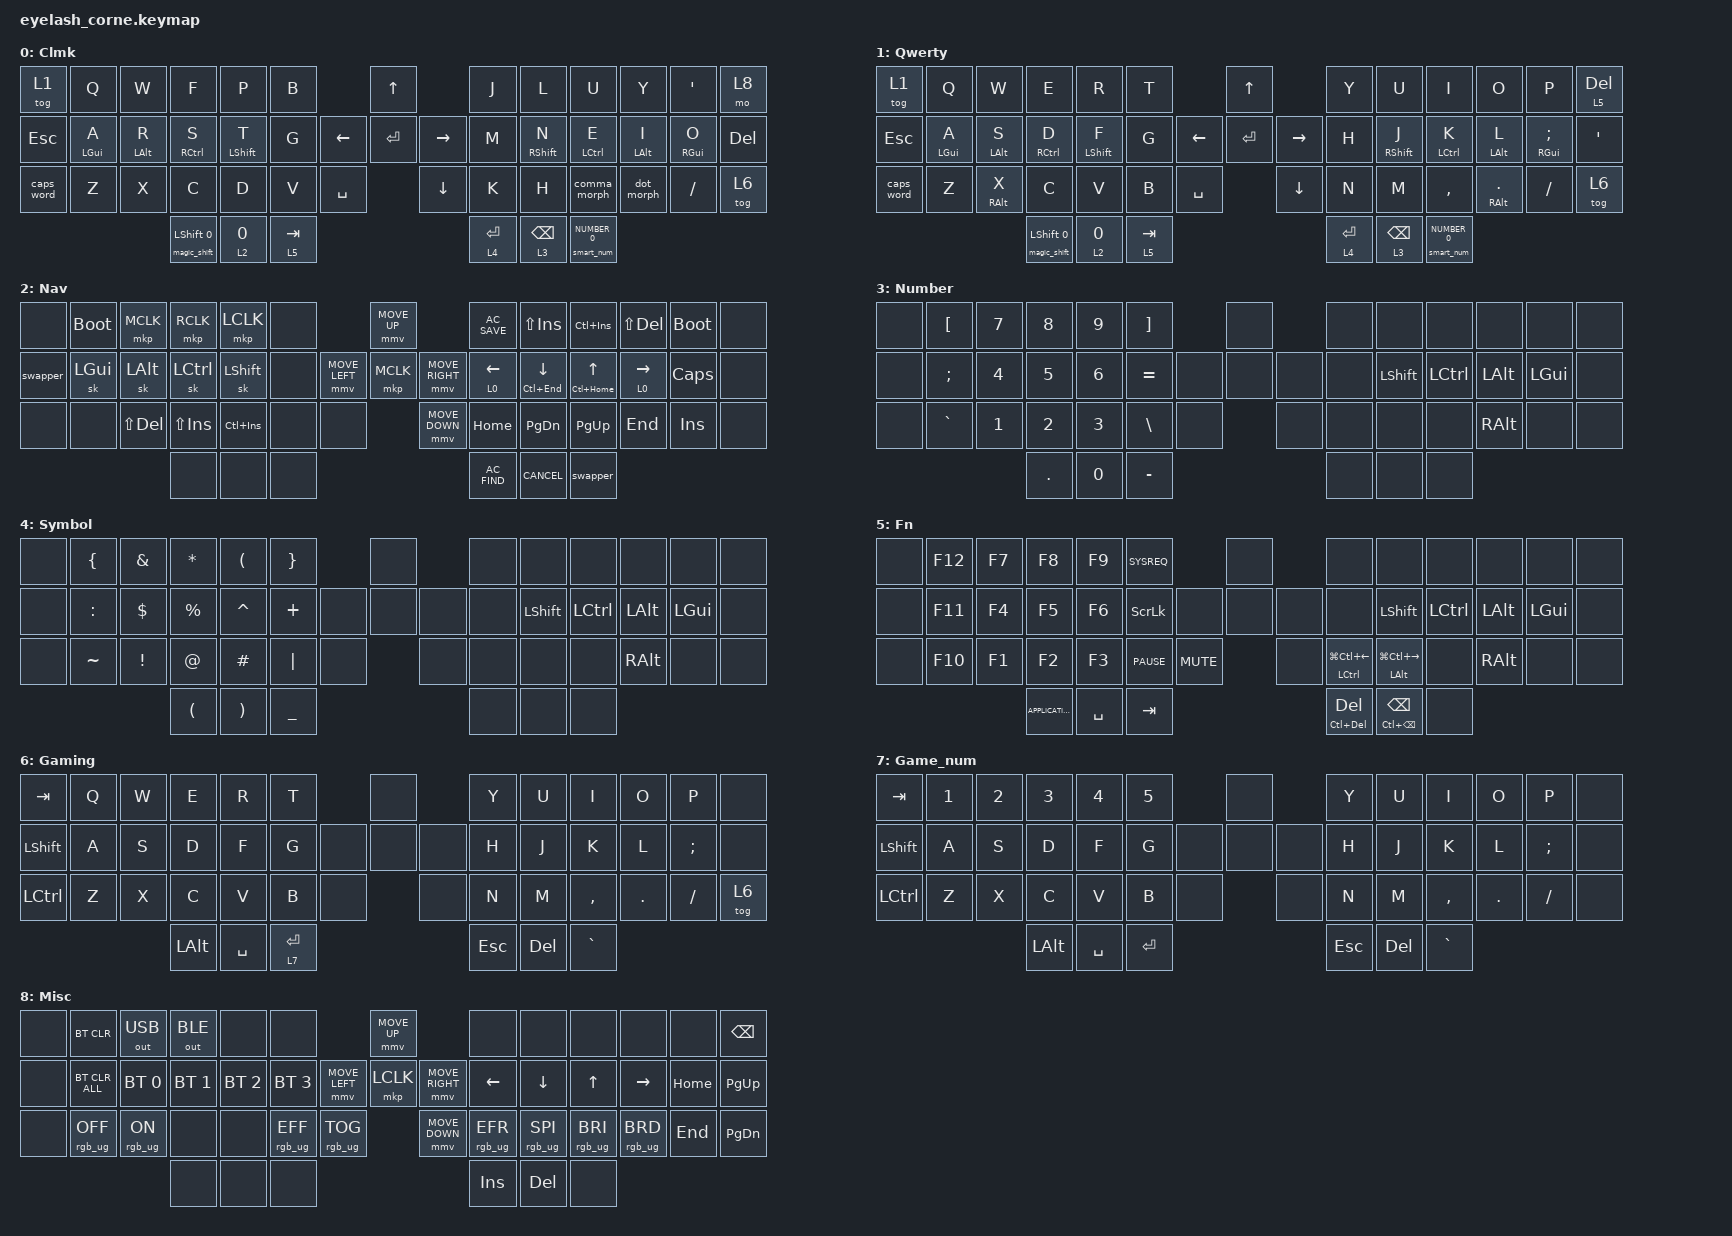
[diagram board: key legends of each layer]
#define ZMK_POINTING_DEFAULT_MOVE_VAL 1200  // 600
#define ZMK_POINTING_DEFAULT_SCRL_VAL 25   // 10

#include <input/processors.dtsi>
#include <zephyr/dt-bindings/input/input-event-codes.h>
#include <behaviors.dtsi>
#include <behaviors/num_word.dtsi>
#include <dt-bindings/zmk/bt.h>
#define _BT_SEL_KEYS_                                                        \
    &bt BT_SEL 0 &bt BT_SEL 1 &bt BT_SEL 2 &bt BT_SEL 3 &bt BT_CLR
#include <dt-bindings/zmk/keys.h>
#include <dt-bindings/zmk/outputs.h>
#include <dt-bindings/zmk/pointing.h>
#include <dt-bindings/zmk/rgb.h>

#include "zmk-helpers/helper.h"
#include "zmk-helpers/unicode-chars/greek.dtsi"
#include "zmk-helpers/unicode-chars/currency.dtsi"
#include "zmk-helpers/key-labels/eyelash42.h"

&mmv_input_listener { input-processors = <&zip_xy_scaler 2 1>; };

&msc_input_listener { input-processors = <&zip_scroll_scaler 2 1>; };

&msc {
    acceleration-exponent = <1>;      // 0
    time-to-max-speed-ms = <100>;       // 300
    delay-ms = <0>;                   // 0
};

&mmv {
    time-to-max-speed-ms = <500>;
    acceleration-exponent = <1>;
    trigger-period-ms = <16>;
};

#define XXX &none
#define ___ &trans

/* Global defaults */

#define QUICK_TAP_MS 175

&sk {
  release-after-ms = <900>;
  quick-release;
};

&sl { // Allow sticky mods to chord across sticky layers.
  ignore-modifiers;
};

&lt {
  flavor = "balanced";
  tapping-term-ms = <200>;
  quick-tap-ms = <QUICK_TAP_MS>;
};

#define CLMK 0
#define QWERTY 1
#define NAV 2
#define NUMBER 3  
#define SYMBOL 4
#define FN 5  
#define GAMING 6
#define GAME_NUM 7
#define MISC 8  


#define KEYS_L LT0 LT1 LT2 LT3 LT4 LM0 LM1 LM2 LM3 LM4 LB0 LB1 LB2 LB3 LB4  // left hand
#define KEYS_R RT0 RT1 RT2 RT3 RT4 RM0 RM1 RM2 RM3 RM4 RB0 RB1 RB2 RB3 RB4  // right hand
#define THUMBS LH2 LH1 LH0 RH0 RH1 RH2   // thumbs

#define MAKE_HRM(NAME, HOLD, TAP, TRIGGER_POS)                                 \
  ZMK_HOLD_TAP(NAME, bindings = <HOLD>, <TAP>; flavor = "balanced";            \
               tapping-term-ms = <280>; quick-tap-ms = <QUICK_TAP_MS>;         \
               require-prior-idle-ms = <150>; hold-trigger-on-release;         \
               hold-trigger-key-positions = <TRIGGER_POS>;)

MAKE_HRM(hml, &kp, &kp, KEYS_R THUMBS) // Left-hand HRMs.
MAKE_HRM(hmr, &kp, &kp, KEYS_L THUMBS) // Right-hand HRMs.

// Hack: Make HRM combos tap-only (cf, ZMK issue #544).
#define ZMK_COMBO_8(NAME, TAP, POS, LAYERS, COMBO_MS, IDLE_MS, HOLD, SIDE)     \
  MAKE_HRM(hm_combo_##NAME, &kp, TAP, SIDE THUMBS)                             \
  ZMK_COMBO_6(NAME, &hm_combo_##NAME HOLD 0, POS, LAYERS, COMBO_MS, IDLE_MS)

#include "combos.dtsi" // Must be sourced after HRM-combo hack.
#include "leader.dtsi"

// Keymap

/ {
    behaviors {
        td0: td0 {
            compatible = "zmk,behavior-tap-dance";
            display-name = "Shift/Caps Lock Tap Dance";
            #binding-cells = <0>;
            bindings = <&kp LEFT_SHIFT>, <&kp CAPS>;
        };
    };

    rgb_encoder: rgb_encoder {
        compatible = "zmk,behavior-sensor-rotate";
        #sensor-binding-cells = <0>;
        bindings = <&rgb_ug RGB_BRI>, <&rgb_ug RGB_BRD>;
    };

    scroll_encoder: scroll_encoder {
        compatible = "zmk,behavior-sensor-rotate";
        #sensor-binding-cells = <0>;
        bindings = <&msc SCRL_DOWN>, <&msc SCRL_UP>;

        tap-ms = <100>;
    };
};



/* Nav cluster */

// Trigger tap-action on all interrupts.
#define MT_CORE                                                                \
  flavor = "tap-preferred";                                                    \
  tapping-term-ms = <220>;                                                     \
  quick-tap-ms = <220>;                                                        \
  hold-trigger-key-positions = <0>;

&mt { MT_CORE };

ZMK_HOLD_TAP(mt_home, bindings = <&masked_home>, <&kp>; MT_CORE)
ZMK_HOLD_TAP(mt_end, bindings = <&masked_end>, <&kp>; MT_CORE)

#define NAV_LEFT  &mt_home 0   LEFT  // Tap: left  | Long-tap: start of line.
#define NAV_RIGHT &mt_end 0    RIGHT // Tap: right | Long-tap: end   of line.
#define NAV_UP    &mt LC(HOME) UP    // Tap: up    | Long-tap: start of doc.
#define NAV_DOWN  &mt LC(END)  DOWN  // Tap: down  | Long-tap: end   of doc.
#define NAV_BSPC  &mt LC(BSPC) BSPC  // Tap: bspc  | Long-tap: delete word bwd.
#define NAV_DEL   &mt LC(DEL)  DEL   // Tap: del   | Long-tap: delete word fwd.

// Mask CTRL on left/right hold to avoid accidental jumps to start/end of doc.
#define MASK_MODS(NAME, MODS, BINDING)                                         \
  ZMK_MOD_MORPH(NAME, bindings = <BINDING>, <BINDING>; mods = <MODS>;)

MASK_MODS(masked_home, (MOD_LCTL), &kp HOME)
MASK_MODS(masked_end,  (MOD_LCTL), &kp END)

/* Magic-shift & auto-layers */

// Tap: repeat after alpha, else sticky-shift |
// Shift + tap/ double-tap: caps-word | Hold: shift.
#define MAGIC_SHIFT &magic_shift LSHFT 0
ZMK_HOLD_TAP(magic_shift, bindings = <&kp>, <&magic_shift_tap>;
             flavor = "balanced"; tapping-term-ms = <200>;
             quick-tap-ms = <QUICK_TAP_MS>;)
ZMK_MOD_MORPH(magic_shift_tap, bindings = <&shift_repeat>, <&caps_word>;
              mods = <(MOD_LSFT)>;)
ZMK_ADAPTIVE_KEY(
    shift_repeat, bindings = <&sk LSHFT>;
    repeat {
      trigger-keys = <A B C D E F G H I J K L M N O P Q R S T U V W X Y Z>;
      bindings = <&key_repeat>;
      max-prior-idle-ms = <1200>;
      strict-modifiers;
    };)
&caps_word { // Mods deactivate caps-word, requires PR #1451. [TODO: rebase]
  /delete-property/ ignore-modifiers;
};

// Tap: num-word | double-tap: sticky num-layer | Hold: num-layer.
#define SMART_NUM &smart_num NUMBER 0
ZMK_HOLD_TAP(smart_num, bindings = <&mo>, <&num_dance>; flavor = "balanced";
             tapping-term-ms = <200>; quick-tap-ms = <QUICK_TAP_MS>;)
ZMK_TAP_DANCE(num_dance, bindings = <&num_word NUMBER>, <&sl NUMBER>;
              tapping-term-ms = <200>;)

/* Custom behaviors */

// Alt+Tab swapper, requires tri-state module.
ZMK_TRI_STATE(swapper, bindings = <&kt LALT>, <&kp TAB>, <&kt LALT>;
    ignored-key-positions = <LT2 RT2 RM1 RM2 RM3>;)

// Define mod-morph with a *single* mod trigger for less repetition.
#define SIMPLE_MORPH(NAME, MOD, BINDING1, BINDING2)                            \
ZMK_MOD_MORPH(NAME, mods = <(MOD_L##MOD | MOD_R##MOD)>;                      \
      bindings = <BINDING1>, <BINDING2>;)

// Tap: comma | Shift + tap: semicolon | Ctrl + shift + tap: <.
SIMPLE_MORPH(comma_morph, SFT, &kp COMMA, &comma_inner_morph)
SIMPLE_MORPH(comma_inner_morph, CTL, &kp SEMICOLON, &kp LESS_THAN)

// Tap: dot | Shift + tap: colon | Ctrl + shift + tap: >.
SIMPLE_MORPH(dot_morph, SFT, &kp DOT, &dot_inner_morph)
SIMPLE_MORPH(dot_inner_morph, CTL, &kp COLON, &kp GREATER_THAN)

// Tap: qmark | Shift + tap: excl.
SIMPLE_MORPH(qexcl, SFT, &kp QMARK, &kp EXCL)

// Tap: left/right parenthesis | Shft + tap: less-than/greater-than.
SIMPLE_MORPH(lpar_lt, SFT, &kp LPAR, &kp LT)
SIMPLE_MORPH(rpar_gt, SFT, &kp RPAR, &kp GT)

// Tap: space | Shift + tap: dot -> space -> sticky shift | Hold: nav layer.
ZMK_HOLD_TAP(lt_spc, bindings = <&mo>, <&spc_morph>; flavor = "balanced";
   tapping-term-ms = <200>; quick-tap-ms = <QUICK_TAP_MS>;)
SIMPLE_MORPH(spc_morph, SFT, &kp SPACE, &dot_spc)
ZMK_MACRO(dot_spc, bindings = <&kp DOT &kp SPACE &sk LSHFT>; wait-ms = <0>;
tap-ms = <5>;)

// Tap: backspace | Lshft + tap: delete | Rshft + tap: shift-delete.
ZMK_MOD_MORPH(bs_del, bindings = <&kp BSPC>, <&kp DEL>;
    mods = <(MOD_LSFT|MOD_RSFT)>; keep-mods = <MOD_RSFT>;)

// Tap: copy | double-tap: cut.
ZMK_TAP_DANCE(copy_cut, bindings = <&kp LC(INS)>, <&kp LC(X)>;
    tapping-term-ms = <200>;)

// Sticky shift + leader.
ZMK_MACRO(leader_sft, bindings = <&sk LSHFT &leader>;)

// Misc aliases. [TODO: clean up]
#define CANCEL    &kp K_CANCEL            // Cancel caps-word & auto-layers.
#define DSK_PREV  &hmr LCTRL LG(LC(LEFT)) // Previous desktop.
#define DSK_NEXT  &hmr LALT LG(LC(RIGHT)) // Next     desktop.
#define PIN_WIN   &kp LG(LC(LS(Q)))       // Pin window across desktops.
#define PIN_APP   &kp LG(LC(LS(A)))       // Pin application across desktops.
#define DSK_MGR   &kp LA(GRAVE)           // Desktop manager.
#define VOL_DOWN  &hmr RSHFT C_VOL_DN


// #ifndef ZMK_BASE_LAYER
//   #define ZMK_BASE_LAYER(name, LT, RT, LM, RM, LB, RB, LH, RH)                 \
//       ZMK_LAYER(name, LT RT LM RM LB RB LH RH)
// #endif

ZMK_LAYER(Clmk,
    &tog 1      &kp Q        &kp W        &kp F        &kp P         &kp B                             &kp UP                &kp J        &kp L            &kp U          &kp Y         &kp SQT     &mo 8
    &kp ESC     &hml LGUI A  &hml LALT R  &hml RCTRL S &hml LSHIFT T &kp G                   &kp LEFT  &kp ENTER  &kp RIGHT  &kp M        &hmr RSHIFT N    &hmr LCTRL E   &hmr LALT I   &hmr RGUI O &kp DEL
    &caps_word  &kp Z        &kp X        &kp C        &kp D         &kp V      &kp SPACE              &kp DOWN              &kp K        &kp H            &comma_morph   &dot_morph    &kp FSLH    &tog 6
                                          MAGIC_SHIFT  &lt_spc 2 0   &lt 5 TAB                                               &lt 4 ENTER  &lt 3 BACKSPACE  SMART_NUM,
    &scroll_encoder
)

ZMK_LAYER(Qwerty,
    &tog 1      &kp Q       &kp W       &kp E        &kp R         &kp T                             &kp UP                &kp Y        &kp U            &kp I        &kp O         &kp P               &lt 5 DEL
    &kp ESC     &mt LGUI A  &mt LALT S  &mt RCTRL D  &mt LSHIFT F  &kp G                   &kp LEFT  &kp ENTER  &kp RIGHT  &kp H        &mt RSHIFT J     &mt LCTRL K  &mt LALT L    &mt RGUI SEMICOLON  &kp SINGLE_QUOTE
    &caps_word  &kp Z       &mt RALT X  &kp C        &kp V         &kp B      &kp SPACE              &kp DOWN              &kp N        &kp M            &kp COMMA    &mt RALT DOT  &kp FSLH            &tog 6
                                        MAGIC_SHIFT  &lt_spc 2 0   &lt 5 TAB                                               &lt 4 ENTER  &lt 3 BACKSPACE  SMART_NUM,
    &scroll_encoder
)

ZMK_LAYER(Nav,
    &none     &bootloader  &mkp MCLK     &mkp RCLK      &mkp LCLK        &none                           &mmv MOVE_UP                     &kp C_AC_SAVE      &kp LS(INS)    &kp LC(INS)  &kp LS(DEL)  &bootloader   &none
    &swapper  &sk LGUI     &sk LALT      &sk LCTRL      &sk LSHFT        &none           &mmv MOVE_LEFT  &mkp MCLK    &mmv MOVE_RIGHT     NAV_LEFT           NAV_DOWN       NAV_UP       NAV_RIGHT    &kp CAPSLOCK  &none
    &none     &none        &kp LS(DEL)   &kp LS(INS)    &kp LC(INS)      &none  &none                    &mmv MOVE_DOWN                   &kp HOME           &kp PG_DN      &kp PG_UP    &kp END      &kp INS       &none
                                         &none      &none      &none                                                                      &kp C_AC_FIND  CANCEL  &swapper,
    &scroll_encoder
)

ZMK_LAYER(Number,
    &none  &kp LBKT   &kp N7  &kp N8   &kp N9  &kp RBKT                   &none         &none  &none      &none      &none     &none     &none
    &none  &kp SEMI   &kp N4  &kp N5   &kp N6  &kp EQUAL           &none  &none  &none  &none  &kp LSHFT  &kp LCTRL  &kp LALT  &kp LGUI  &none
    &none  &kp GRAVE  &kp N1  &kp N2   &kp N3  &kp BSLH   &none           &none         &none  &none      &none      &kp RALT  &none     &none
                              &kp DOT  &kp N0  &kp MINUS                                &none  &none      &none,
    &inc_dec_kp LC(Y) LC(Z)
)

ZMK_LAYER(Symbol,
    &none  &kp LEFT_BRACE  &kp AMPERSAND    &kp ASTERISK          &kp LEFT_PARENTHESIS   &kp RIGHT_BRACE                  &none         &none  &none      &none      &none     &none     &none
    &none  &kp COLON       &kp DOLLAR       &kp PERCENT           &kp CARET              &kp PLUS                  &none  &none  &none  &none  &kp LSHFT  &kp LCTRL  &kp LALT  &kp LGUI  &none
    &none  &kp TILDE       &kp EXCLAMATION  &kp AT                &kp HASH               &kp PIPE         &none           &none         &none  &none      &none      &kp RALT  &none     &none
                                        &kp LEFT_PARENTHESIS  &kp RIGHT_PARENTHESIS  &kp UNDERSCORE                                 &none  &none      &none,
    &inc_dec_kp LG(Y) LG(Z)
)

ZMK_LAYER(Fn,
    &none  &kp F12  &kp F7  &kp F8             &kp F9     &kp SYSREQ                           &none         &none     &none         &none      &none     &none     &none
    &none  &kp F11  &kp F4  &kp F5             &kp F6     &kp SCROLLLOCK                &none  &none  &none  &none     &kp LSHFT     &kp LCTRL  &kp LALT  &kp LGUI  &none
    &none  &kp F10  &kp F1  &kp F2             &kp F3     &kp C_PAUSE     &kp C_MUTE           &none         DSK_PREV  DSK_NEXT      &none      &kp RALT  &none     &none
                            &kp K_APPLICATION  &kp SPACE  &kp TAB                                            NAV_DEL   NAV_BSPC      &none,
    &inc_dec_kp C_VOLUME_UP C_VOLUME_DOWN
)

ZMK_LAYER(Gaming,
    &kp TAB    &kp Q  &kp W  &kp E     &kp R      &kp T                        &none         &kp Y    &kp U    &kp I      &kp O    &kp P     &none
    &kp LSHFT  &kp A  &kp S  &kp D     &kp F      &kp G                 &none  &none  &none  &kp H    &kp J    &kp K      &kp L    &kp SEMI  &none
    &kp LCTRL  &kp Z  &kp X  &kp C     &kp V      &kp B        &none           &none         &kp N    &kp M    &kp COMMA  &kp DOT  &kp FSLH  &tog 6
                            &kp LALT  &kp SPACE  &lt 7 ENTER                                &kp ESC  &kp DEL  &kp GRAVE
)

ZMK_LAYER(Game_num,
    &kp TAB    &kp N1  &kp N2  &kp N3    &kp N4     &kp N5                     &none         &kp Y    &kp U    &kp I      &kp O    &kp P     &none
    &kp LSHFT  &kp A   &kp S   &kp D     &kp F      &kp G               &none  &none  &none  &kp H    &kp J    &kp K      &kp L    &kp SEMI  &none
    &kp LCTRL  &kp Z   &kp X   &kp C     &kp V      &kp B      &none           &none         &kp N    &kp M    &kp COMMA  &kp DOT  &kp FSLH  &none
                            &kp LALT  &kp SPACE  &kp ENTER                                &kp ESC  &kp DEL  &kp GRAVE
)

ZMK_LAYER(Misc,
    &none  &bt BT_CLR       &out OUT_USB    &out OUT_BLE  &none         &none                                               &mmv MOVE_UP                     &none            &none            &none            &none            &none     &kp BSPC
    &none  &bt BT_CLR_ALL   &bt BT_SEL 0    &bt BT_SEL 1  &bt BT_SEL 2  &bt BT_SEL 3                        &mmv MOVE_LEFT  &mkp LCLK       &mmv MOVE_RIGHT  &kp LEFT         &kp DOWN         &kp UP           &kp RIGHT        &kp HOME  &kp PG_UP
    &none  &rgb_ug RGB_OFF  &rgb_ug RGB_ON  &none         &none         &rgb_ug RGB_EFF  &rgb_ug RGB_TOG                    &mmv MOVE_DOWN                   &rgb_ug RGB_EFR  &rgb_ug RGB_SPI  &rgb_ug RGB_BRI  &rgb_ug RGB_BRD  &kp END   &kp PG_DN
                                            &none         &none         &none                                                                                &kp INS          &kp DEL          &none,
    &rgb_encoder
)
